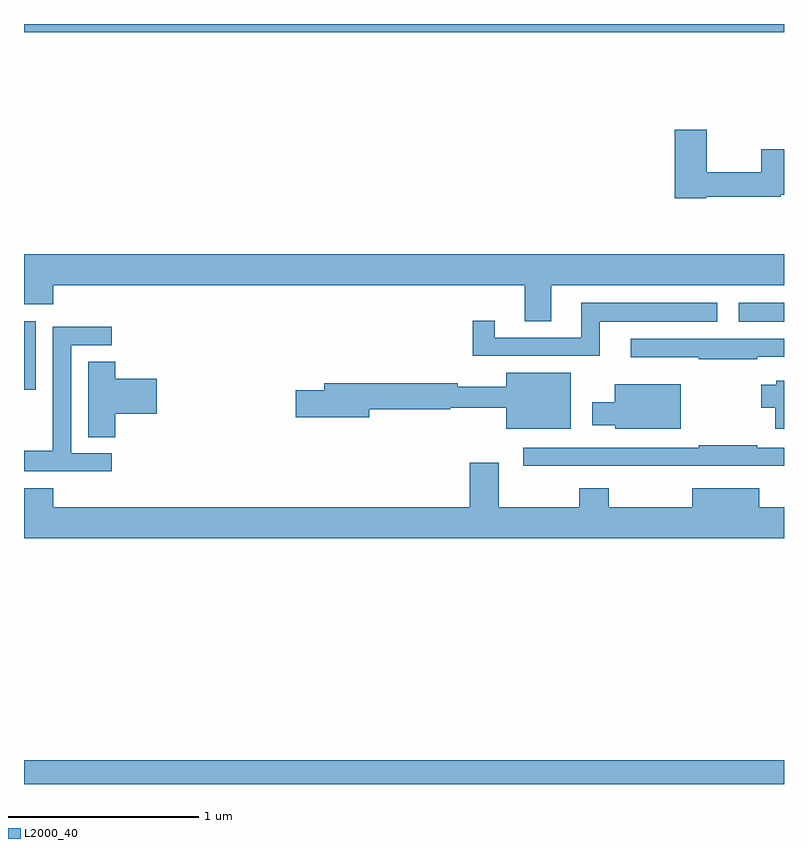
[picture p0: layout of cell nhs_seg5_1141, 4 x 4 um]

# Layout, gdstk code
import gdstk
lib = gdstk.Library(unit=1e-6, precision=1e-09)
def R(c, l, rs):  # rectangles x0, y0, x1, y1
    for r in rs: c.add(gdstk.rectangle(r[:2], r[2:], *l))
def P(c, l, *ps):  # polygons
    for p in ps: c.add(gdstk.Polygon(p, *l))
L2000_40 = (2000, 40)

nhs_seg5_1141 = lib.new_cell('nhs_seg5_1141')
R(nhs_seg5_1141, L2000_40, [(181,856.799,185,856.924), (181,858.873,181.063,859.234), (184.761,859.232,185,859.333), (181,860.756,185,860.799)])
P(nhs_seg5_1141, L2000_40, [(184.59,859.89),(184.984,859.89),(184.984,859.901),(185,859.901),(185,860.14),(184.88,860.14),(184.88,860.018),(184.594,860.018),(184.594,860.242),(184.424,860.242),(184.424,859.882),(184.59,859.882)],
  [(183.775,859.424),(185,859.424),(185,859.588),(181,859.588),(181,859.325),(181.154,859.325),(181.154,859.424),(183.635,859.424),(183.635,859.234),(183.775,859.234)],
  [(184.03,859.232),(184.648,859.232),(184.648,859.333),(183.932,859.333),(183.932,859.149),(183.478,859.149),(183.478,859.237),(183.361,859.237),(183.361,859.053),(184.03,859.053)],
  [(181.462,858.54),(181.248,858.54),(181.248,859.107),(181.462,859.107),(181.462,859.206),(181.152,859.206),(181.152,858.776),(181.15,858.776),(181.15,858.553),(181,858.553),(181,858.444),(181.462,858.444)],
  [(184.859,859.047),(185,859.047),(185,859.143),(184.194,859.143),(184.194,859.046),(184.552,859.046),(184.552,859.035),(184.859,859.035)],
  [(181.481,858.749),(181.699,858.749),(181.699,858.932),(181.481,858.932),(181.481,859.022),(181.337,859.022),(181.337,858.625),(181.481,858.625)],
  [(183.877,858.964),(183.539,858.964),(183.539,858.889),(183.284,858.889),(183.284,858.908),(182.579,858.908),(182.579,858.872),(182.43,858.872),(182.43,858.73),(182.818,858.73),(182.818,858.772),(183.243,858.772),(183.243,858.78),(183.539,858.78),(183.539,858.668),(183.877,858.668)],
  [(185,858.922),(184.959,858.922),(184.959,858.901),(184.88,858.901),(184.88,858.779),(184.955,858.779),(184.955,858.668),(185,858.668)],
  [(184.456,858.904),(184.109,858.904),(184.109,858.808),(183.992,858.808),(183.992,858.686),(184.113,858.686),(184.113,858.668),(184.456,858.668)],
  [(184.421,858.474),(184.966,858.474),(184.966,858.473),(185,858.473),(185,858.57),(184.859,858.57),(184.859,858.583),(184.552,858.583),(184.552,858.57),(183.627,858.57),(183.627,858.474),(184.165,858.474),(184.165,858.473),(184.421,858.473)],
  [(185,858.256),(184.87,858.256),(184.87,858.355),(184.517,858.355),(184.517,858.256),(184.077,858.256),(184.077,858.355),(183.922,858.355),(183.922,858.256),(183.499,858.256),(183.499,858.49),(183.347,858.49),(183.347,858.256),(181.154,858.256),(181.154,858.355),(181.001,858.355),(181.001,858.256),(181,858.256),(181,858.092),(185,858.092)])

lib.write_gds('nhs_seg5_1141.gds')
